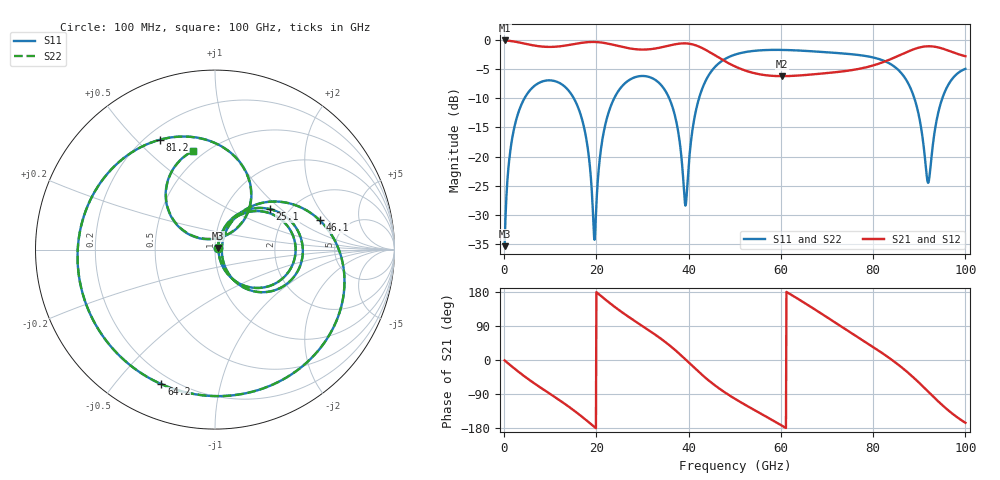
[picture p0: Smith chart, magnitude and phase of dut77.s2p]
! Touchstone file exported from HFSS 2026.1.0
!  File:  C:/ffzhzh/LocalFiles/Ansys_Project_Files/temp_train_TSV_RDL_77_1783628482_33328.aedt
!  Generated:  04:29:24 AM Jul 10, 2026
!  Design:  TSV_RDL
!  Project:  temp_train_TSV_RDL_77_1783628482_33328
! Variables:
!  h_bsmrdl = 3.63um
!  h_ox = 20um
!  h_rdl = 5um
!  h_sub = 94.9um
!  h_tmrdl = 4.88um
!  h_tsv = 94.9um
!  h_via = 3um
!  l_bsmrdl = 589.96um
!  l_sub = 2658.07um
!  l_tmrdl = 100.44um
!  m_sub = 200um
!  pitch = 42.09um
!  r_tsv = 11.7um
!  s_tmrdl = 10um
!  w_bsmrdl = 15.56um
!  w_sub = 500um
!  w_tmrdl = 13.25um
!  x_tsv_center1 = 107.065um
!  x_tsv_center2 = 712.585um
!  x_tsv_center3 = 826.275um
!  x_tsv_center4 = 1431.795um
!  x_tsv_center5 = 1545.485um
!  x_tsv_center6 = 2151.005um
# GHz S MA R 50.000000
! Terminal data exported
! Port[1] = TM_RDL1_1_T1
! Port[2] = TM_RDL5_1_T1
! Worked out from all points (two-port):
!   1000 points, 100 MHz to 100 GHz, reference 50 ohm
!   highest |S21| = -0.13 dB at 100 MHz (marker M1); lowest = -6.2 dB at 60.3 GHz (marker M2)
!   |S21| within 3 dB of the highest: start of sweep to 46.65 GHz; 84.4 GHz to end of sweep
!   lowest |S11| = -35.3 dB at 100 MHz (marker M3), VSWR 1.03, Z = 51.5 + j0.909 ohm
!   |S11| at or under -10 dB: 15.09 GHz to 23.87 GHz (8.78 GHz wide, 45.1 % of centre); 35.78 GHz to 42.26 GHz (6.479 GHz wide, 16.6 % of centre); 88.93 GHz to 95.01 GHz (6.081 GHz wide, 6.61 % of centre) (the widest 3 of 4)
!   |S22| runs from -35.3 to -1.7 dB; largest |S21 - S12| = 1.6e-13
!   S11 on the Smith chart (normalised r, x): 100 MHz: 1.03, +0.02; 25.1 GHz: 1.60, +0.85; 46.1 GHz: 3.17, +1.63; 64.2 GHz: 0.16, -0.67; 81.2 GHz: 0.26, +0.59; 100 GHz: 0.44, +0.70
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0.1  0.01713 31.0  0.9854 -1.1  0.9854 -1.1  0.01713 31.0
! Gamma 0 0 0 0
! Port Impedance 50 0 50 0
1.8  0.1477 64.3  0.9701 -18.3  0.9701 -18.3  0.1477 64.3
5.1  0.3485 37.1  0.9141 -49.3  0.9141 -49.3  0.3485 37.1
16.8  0.2142 -56.5  0.9406 -149.0  0.9406 -149.0  0.2142 -56.5
19.6  0.01944 5.7  0.9566 -176.9  0.9566 -176.9  0.0196 5.6
21.7  0.1707 63.9  0.9383 161.9  0.9383 161.9  0.1707 63.8
25.1  0.3798 36.5  0.876 130.0  0.876 130.0  0.3798 36.4
33.4  0.4336 -27.9  0.8495 61.3  0.8495 61.3  0.4336 -27.9
39.3  0.03808 -3.0  0.9304 1.7  0.9304 1.7  0.03789 -3.1
41.9  0.2808 52.7  0.8847 -28.0  0.8847 -28.0  0.2807 52.7
46.1  0.6061 15.6  0.7191 -70.6  0.7191 -70.6  0.606 15.6
50.1  0.7468 -15.0  0.5895 -102.8  0.5895 -102.8  0.7468 -15.0
60.3  0.8178 -83.8  0.4878 -173.8  0.4878 -173.8  0.8177 -83.8
64.2  0.807 -111.7  0.495 157.7  0.495 157.7  0.8069 -111.7
66.7  0.7964 -130.5  0.5042 138.6  0.5042 138.6  0.7963 -130.5
73.7  0.7612 174.9  0.5377 83.7  0.5377 83.7  0.7612 175.0
81.2  0.6847 116.5  0.6233 24.6  0.6233 24.6  0.6847 116.6
83.4  0.631 98.9  0.6715 6.1  0.6715 6.1  0.631 99.0
88.7  0.3361 53.4  0.8261 -45.7  0.8261 -45.7  0.3364 53.7
91.9  0.05962 94.6  0.8791 -83.0  0.8791 -83.0  0.0617 94.7
95.1  0.3238 141.4  0.8379 -120.2  0.8379 -120.2  0.324 141.1
100  0.5629 102.7  0.7227 -165.7  0.7227 -165.7  0.5629 102.6
